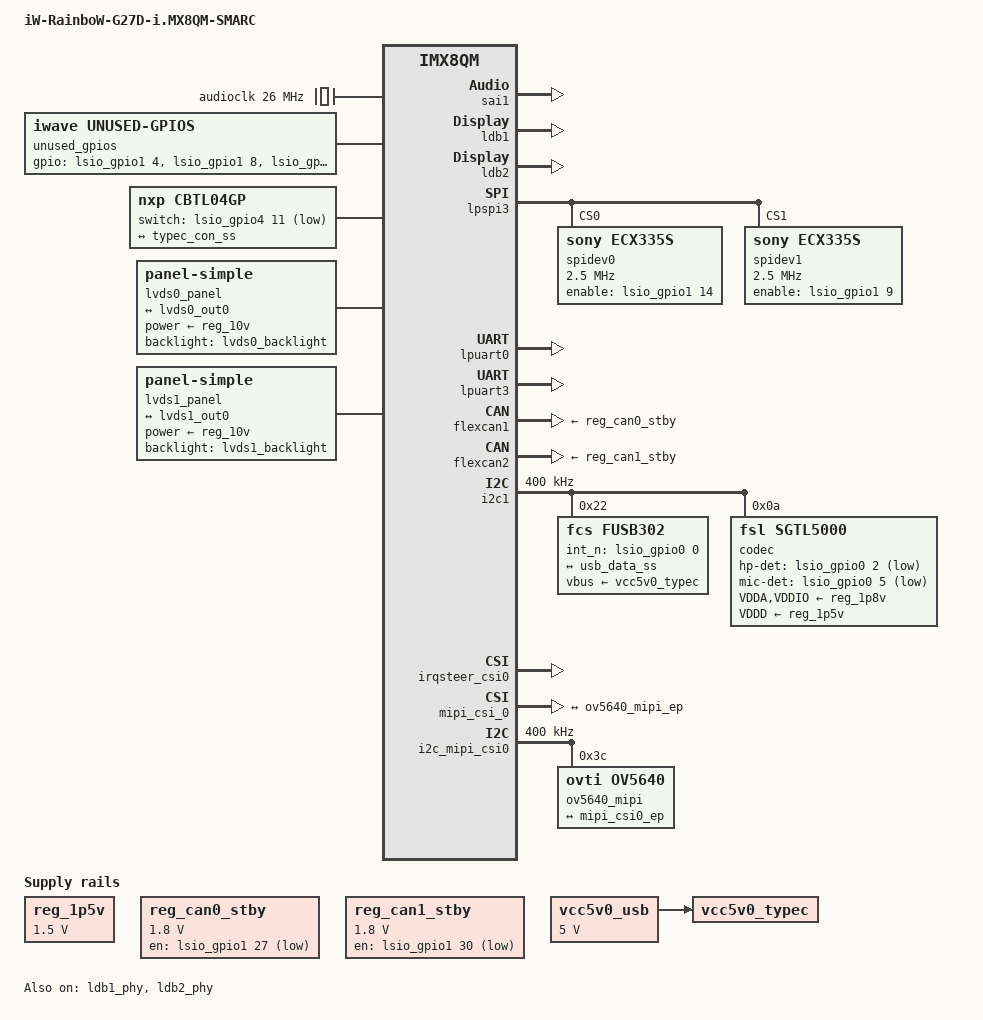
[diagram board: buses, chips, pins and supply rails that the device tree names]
// SPDX-License-Identifier: GPL-2.0+
/*
 * Copyright (c) 2021 iWave Systems Technologies Pvt. Ltd.
 *
 * This program is free software; you can redistribute it and/or
 * modify it under the terms of the GNU General Public License
 * as published by the Free Software Foundation; either version 2
 * of the License, or (at your option) any later version.
 *
 * This program is distributed in the hope that it will be useful,
 * but WITHOUT ANY WARRANTY; without even the implied warranty of
 * MERCHANTABILITY or FITNESS FOR A PARTICULAR PURPOSE.  See the
 * GNU General Public License for more details.
 */

/dts-v1/;

#include "imx8qm-iwg27m.dtsi"

/ {
	model = "iW-RainboW-G27D-i.MX8QM-SMARC";
	compatible = "fsl,imx8qm-iwg27m", "fsl,imx8qm";

	clocks {
		#address-cells = <1>;
		#size-cells = <0>;

		audioclk: ext26Mz { /* SGTL5000: External Audio Clock */
			compatible = "fixed-clock";
			clock-frequency = <26000000>;
			reg=<0>;
			#clock-cells = <0>;
		};
	};
	unused_gpios: unused_gpios { /* GPIO: Setting Unused GPIOs as input pins */
		compatible = "iwave,unused-gpios";
		pinctrl-names = "default";
		pinctrl-0 = <&pinctrl_unused_gpio>;
		status = "okay";  
	};

	reg_1p5v: 1p5v { /* Regulator: Fixed 1.5V Regulator */
		compatible = "regulator-fixed";
		regulator-name = "1P5V";
		regulator-min-microvolt = <1500000>;
		regulator-max-microvolt = <1500000>;
		regulator-always-on;
	};

	reg_can0_stby: regulator-can-stby0 { /* CAN: CAN0 Standby Regulator */
		compatible = "regulator-fixed";
		regulator-name = "CAN0_STBY_1P8V";
		regulator-min-microvolt = <1800000>;
		regulator-max-microvolt = <1800000>;
		gpio = <&lsio_gpio1 27 GPIO_ACTIVE_HIGH>;
		regulator-always-on;
	};

	reg_can1_stby: regulator-can-stby1 { /* CAN: CAN1 Standby Regulator */
		compatible = "regulator-fixed";
		regulator-name = "CAN1_STBY_1P8V";
		regulator-min-microvolt = <1800000>;
		regulator-max-microvolt = <1800000>;
		gpio = <&lsio_gpio1 30 GPIO_ACTIVE_HIGH>;
		regulator-always-on;
	};

	vcc5v0_typec: vcc5v0-typec-regulator {
		compatible = "regulator-fixed";
		pinctrl-names = "default";
		regulator-name = "vcc5v0_typec";
		regulator-always-on;
		vin-supply = <&vcc5v0_usb>;
	};

	vcc5v0_usb: vcc5v0-usb {
		compatible = "regulator-fixed";
		regulator-name = "vcc5v0_usb";
		regulator-always-on;
		regulator-boot-on;
		regulator-min-microvolt = <5000000>;
		regulator-max-microvolt = <5000000>;
	};

	cbtl04gp {
		compatible = "nxp,cbtl04gp";
		pinctrl-names = "default";
		pinctrl-0 = <&pinctrl_typec_mux>;
		switch-gpios = <&lsio_gpio4 11 GPIO_ACTIVE_LOW>;
		orientation-switch;

		port {
			usb_data_ss: endpoint {
			remote-endpoint = <&typec_con_ss>;
			};
		};
        };

	sound { /* SGTL5000: Audio Codec */
		compatible = "fsl,imx-audio-sgtl5000";
		model = "sgtl5000-audio";
		ssi-controller = <&sai1>;
		audio-codec = <&codec>;
		audio-routing = "MIC_IN", "Mic Jack",
				"Mic Jack", "Mic Bias",
				"Headphone Jack", "HP_OUT",
				"LINE_IN", "Line In Jack";
	};


	/*lvds1_panel { // LVDS1: LVDS panel 
		compatible = "powertrip,ph128800t004-zhc"; //"sony,ECX335S"
		backlight = <&lvds1_backlight>;
		pinctrl-names = "default";
		pinctrl-0 = <&pinctrl_lvds1>;
		power-supply = <&reg_1p8v>;
		enable-gpios = <&lsio_gpio5 0 GPIO_ACTIVE_HIGH>;
		status = "okay";

		port {
			panel_lvds1_in: endpoint {
				remote-endpoint = <&lvds1_out>;
			};
		};
	};*/

	lvds0_backlight: lvds0_backlight { // LVDS1: LVDS Backlight Enable 
		compatible = "pwm-backlight";
		pwms = <&pwm3_lpcg 0 100000 0>;
		power-supply = <&reg_1p8v>;

		brightness-levels = < 0  1  2  3  4  5  6  7  8  9
				     10 11 12 13 14 15 16 17 18 19
				     20 21 22 23 24 25 26 27 28 29
				     30 31 32 33 34 35 36 37 38 39
				     40 41 42 43 44 45 46 47 48 49
				     50 51 52 53 54 55 56 57 58 59
				     60 61 62 63 64 65 66 67 68 69
				     70 71 72 73 74 75 76 77 78 79
				     80 81 82 83 84 85 86 87 88 89
				     90 91 92 93 94 95 96 97 98 99
				    100>;
		default-brightness-level = <100>;
		status = "disabled";
	};
	lvds1_backlight: lvds1_backlight { // LVDS1: LVDS Backlight Enable 
		compatible = "pwm-backlight";
		pwms = <&pwm3_lpcg 0 100000 0>;
		power-supply = <&reg_1p8v>;

		brightness-levels = < 0  1  2  3  4  5  6  7  8  9
				     10 11 12 13 14 15 16 17 18 19
				     20 21 22 23 24 25 26 27 28 29
				     30 31 32 33 34 35 36 37 38 39
				     40 41 42 43 44 45 46 47 48 49
				     50 51 52 53 54 55 56 57 58 59
				     60 61 62 63 64 65 66 67 68 69
				     70 71 72 73 74 75 76 77 78 79
				     80 81 82 83 84 85 86 87 88 89
				     90 91 92 93 94 95 96 97 98 99
				    100>;
		default-brightness-level = <100>;
		status = "disabled";
	};
	lvds0_panel { // LVDS0: LVDS panel : LEFT 
		compatible = "panel-simple", "sony,ecx335s"; 
		pinctrl-names = "default";
		pinctrl-0 = <&pinctrl_lvds0>;
		backlight = <&lvds0_backlight>;
		power-supply = <&reg_10v>;
		status = "okay";
		port {
			panel_lvds0_in0: endpoint {
				remote-endpoint = <&lvds0_out0>;
			};
			
		};
	};
	lvds1_panel { // LVDS1: LVDS panel : RIGHT
		compatible = "panel-simple","sony,ecx335s"; 
		pinctrl-names = "default";
		pinctrl-0 = <&pinctrl_lvds1>; //변경
		backlight = <&lvds1_backlight>;
		power-supply = <&reg_10v>;
		status = "okay";

		port {
			panel_lvds1_in0: endpoint {
				remote-endpoint = <&lvds1_out0>;
			};
			
		};
	};
};

&sai1 { /* SGTL5000: Serial Audio Interface for SGTL5000 Audio Codec */
	assigned-clocks = <&clk IMX_SC_R_AUDIO_PLL_0 IMX_SC_PM_CLK_PLL>,
		<&clk IMX_SC_R_AUDIO_PLL_0 IMX_SC_PM_CLK_SLV_BUS>,
		<&clk IMX_SC_R_AUDIO_PLL_0 IMX_SC_PM_CLK_MST_BUS>,
		<&sai1_lpcg 0>; /* FIXME: should be sai1, original code is 0 */
	assigned-clock-rates = <786432000>, <49152000>, <12288000>, <49152000>;
	pinctrl-names = "default";
	pinctrl-0 = <&pinctrl_sai1>;
	status = "okay";
};

/*&mipi0_dphy {  //MIPI_DSI1: MIPI DSI Phy 
        status = "disabled";
};

&mipi0_dsi_host {  //MIPI_DSI1: MIPI DSI Host 
	fsl,clock-drop-level = <2>;
	status = "disabled";

	panel@0 {
		#address-cells = <1>;
		#size-cells = <0>;

		compatible = "raydium,rm67198";
		pinctrl-0 = <&pinctrl_mipi_dsi>;
		pinctrl-names = "default";
		reset-gpios = <&lsio_gpio0 3 GPIO_ACTIVE_LOW>;
		reg = <0>;
		dsi-lanes = <4>;
		video-mode = <2>;
		width-mm = <68>;
		height-mm = <121>;
		v3p3-supply = <&reg_3p3v>;
		v1p8-supply = <&reg_1p8v>;

		port@0 {
			reg = <0>;
			panel0_in: endpoint {
				remote-endpoint = <&mipi0_panel_out>;
			};
		};
	};

	ports {
		port@1 {
			reg = <1>;
			mipi0_panel_out: endpoint {
				remote-endpoint = <&panel0_in>;
			};
		};
	};
};*/
///delete-node/ &it6263_1_in;
&pwm2_lpcg { /* LVDS0: LVDS PWM2 Control */
	pinctrl-names = "default";
	#pwm-cells = <2>;
	pinctrl-0 = <&pinctrl_lvds0_pwm2_lpcg>;
	status = "disabled";
};
&pwm3_lpcg { /* LVDS1: LVDS PWM3 Control */
	pinctrl-names = "default";
	#pwm-cells = <2>;
	pinctrl-0 = <&pinctrl_lvds1_pwm3_lpcg>;
	status = "disabled";
};
&ldb1_phy { /* LVDS0: LVDS LDB Phy */
	status = "okay";
};

&ldb1 { /* LVDS0: LVDS Channel-0 Port Enable */
	status = "okay";
	fsl,dual-channel;
	lvds-channel@0 {
		fsl,data-mapping = "spwg";
		fsl,data-width = <24>;
		status = "okay";
		port@1 {
			lvds0_out0: endpoint {
				remote-endpoint = <&panel_lvds0_in0>;
			};
		};
	};
};
&ldb2_phy { /* LVDS1: LVDS LDB Phy */
	status = "okay";
};

&ldb2 { /* LVDS1: LVDS Channel-0 Port Enable */
	status = "okay";
	fsl,dual-channel;
	lvds-channel@0 {
		fsl,data-mapping = "spwg";
		fsl,data-width = <24>; // not sure
		status = "okay";
		port@1 {
			lvds1_out0: endpoint {
				remote-endpoint = <&panel_lvds1_in0>;
			};
		};
	};
};


&lpspi3 { /* LPSPI3: SPI Flash Device */
    pinctrl-names = "default";
    pinctrl-0 = <&pinctrl_lpspi3>;
    fsl,spi-num-chipselects = <2>;
    assigned-clock-rates = <80000000>;
	status = "okay";
	spi-cpha;
	spi-cpol;

	/*flash1: spi@0 { // SST25WF020A SPI Flash 
		#address-cells = <1>;
		#size-cells = <1>;
		compatible = "jedec,spi-nor", "is25wp016d";
                spi-max-frequency = <40000000>;
                reg = <0>;
                spi-tx-bus-width = <1>;
                spi-rx-bus-width = <1>;
                m25p,fast-read;
		status = "okay";
	};*/
	spidev0:spidev@0 {
		reg=<0>;
		#address-cells = <1>;
        #size-cells = <1>;
		compatible = "sony,ecx335s";
		spi-max-frequency = <2500000>;
		enable-gpios = <&lsio_gpio1 14 GPIO_ACTIVE_HIGH>;
		status = "okay";

	};
	spidev1:spidev@1 {
		reg=<1>;
		#address-cells = <1>;
        #size-cells = <1>;
		compatible = "sony,ecx335s";
		spi-max-frequency = <2500000>;
		enable-gpios = <&lsio_gpio1 9 GPIO_ACTIVE_HIGH>;
		status = "okay";
	};
};

&lpuart0 { /* LPUART0: DATA UART */
	pinctrl-names = "default";
	pinctrl-0 = <&pinctrl_lpuart0>;
	dma-names = "tx","rx";
	power-domains = <&pd IMX_SC_R_UART_0>;
	dmas = <&edma2 13 0 0>,
	       <&edma2 12 0 1>;
	status = "okay";
};

&lpuart3 { /* LPUART3: DATA UART */
        pinctrl-names = "default";
        pinctrl-0 = <&pinctrl_lpuart3>;
	power-domains = <&pd IMX_SC_R_UART_3>;
	dmas = <&edma2 19 0 0>,
	       <&edma2 18 0 1>;
        status = "okay";
};

&flexcan1 { /* CAN: FLEXCAN1 */
        pinctrl-names = "default";
        pinctrl-0 = <&pinctrl_flexcan1>;	
	xceiver-supply = <&reg_can0_stby>;
	status = "okay";
};

&flexcan2 { /* CAN: FLEXCAN2 */
        pinctrl-names = "default";
        pinctrl-0 = <&pinctrl_flexcan2>;
	xceiver-supply = <&reg_can1_stby>;
	status = "okay";
};

&i2c1 { /* I2C: LPI2C1 */
	#address-cells = <1>;
	#size-cells = <0>;
	pinctrl-names = "default";
	pinctrl-0 = <&pinctrl_lpi2c1>;
	clock-frequency = <400000>;
	status = "okay";

        fusb302: usb-typec@22 {
		compatible = "fcs,fusb302";
		reg = <0x22>;
		pinctrl-names = "default";
		pinctrl-0 = <&pinctrl_type_c>;
		fcs,int_n = <&lsio_gpio0 0 IRQ_TYPE_LEVEL_LOW>;
		vbus-supply = <&vcc5v0_typec>;
		status = "okay";

		ports {
			#address-cells = <1>;
			#size-cells = <0>;

			port@1 {
				reg = <1>;
			};
		};

		usb_con1: connector {
			compatible = "usb-c-connector";
			label = "USB-C";
			power-role = "dual";
			data-role = "dual";
			try-power-role = "sink";
			source-pdos = <PDO_FIXED(5000, 400, PDO_FIXED_DUAL_ROLE | PDO_FIXED_DATA_SWAP | PDO_FIXED_USB_COMM)>;
			sink-pdos = <PDO_FIXED(5000, 400, PDO_FIXED_DUAL_ROLE | PDO_FIXED_DATA_SWAP | PDO_FIXED_USB_COMM)>;
			op-sink-microwatt = <25000000>;

			ports {
				#address-cells = <1>;
				#size-cells = <0>;

				port@1 {
					reg = <1>;
					typec_con_ss: endpoint {
						remote-endpoint = <&usb_data_ss>;
					};
				};
			};
		};
	};

	codec: sgtl5000@a { /* SGTL5000: Audio Codec */
		compatible = "fsl,sgtl5000";
		reg = <0x0a>;
		pinctrl-names = "default";
		pinctrl-0 = <&pinctrl_hp_mic_detect>;
		clocks = <&audioclk 0>;
		VDDA-supply = <&reg_1p8v>;
		VDDIO-supply = <&reg_1p8v>;
		VDDD-supply = <&reg_1p5v>;
		power-domains = <&pd IMX_SC_R_MCLK_OUT_0>;
		hp-det-gpios = <&lsio_gpio0 2 GPIO_ACTIVE_LOW>;
		mic-det-gpios = <&lsio_gpio0 5 GPIO_ACTIVE_LOW>;
		status = "okay";
	};
};

/*&irqsteer_lvds0 {
	status = "okay";
};

&i2c1_lvds0 {  I2C1 LVDS0: Touch I2C for B0 CPU 
	reg = <0x56246000 0x4000>;
	interrupts = <8>;
	#address-cells = <1>;
	#size-cells = <0>;
	pinctrl-names = "default";
	pinctrl-0 = <&pinctrl_i2c1_lvds0>;
	clock-frequency = <400000>;
	status = "okay";

	cst148@1a {  Touch: Hynitron Touch panel (1080p display) 
		compatible = "hynitron,cst1xx";
		reg = <0x1a>;
		interrupt-parent = <&lsio_gpio0>;
		interrupts = <1 2>;
		vdd_ana-supply = <&reg_3p3v>;
		vcc_i2c-supply = <&reg_3p3v>;
		hynitron,panel-coords = <0 1080 0 1920>;
		hynitron,display-coords = <0 1080 0 1920>;
		pinctrl-names = "default";
		pinctrl-0 = <&pinctrl_ts_active_iwg27m>;
		hynitron,irq-gpio = <&lsio_gpio0 1 GPIO_ACTIVE_LOW>;
		hynitron,rst-gpio = <&lsio_gpio0 10 GPIO_ACTIVE_LOW>;
		report_type = <1>;
		status = "okay";
	};
};*/

&irqsteer_csi0 {
	status = "okay";
};

&mipi_csi_0 { /* MIPI_CSI0: OV5640 Camera */
	#address-cells = <1>;
	#size-cells = <0>;
	status = "okay";

	port@0 {
		reg = <0>;
		mipi_csi0_ep: endpoint {
			remote-endpoint = <&ov5640_mipi_ep>;
			data-lanes = <1 2>;
			bus-type = <4>;
		};
	};
};

&i2c_mipi_csi0 { /* MIPI_CSI0: OV5640 Camera */
	#address-cells = <1>;
	#size-cells = <0>;
	pinctrl-names = "default";
	clock-frequency = <400000>;
	status = "okay";

	ov5640_mipi: ov5640_mipi@3c {
		compatible = "ovti,ov5640";
		reg = <0x3c>;
		pinctrl-names = "default";
		pinctrl-0 = <&pinctrl_mipi_csi0>;
		clocks = <&xtal24m>;
		clock-names = "xclk";
		mclk = <24000000>;
		mclk_source = <0>;
		mipi_csi;
		status = "okay";
		port {
			ov5640_mipi_ep: endpoint {
			remote-endpoint = <&mipi_csi0_ep>;
			data-lanes = <1 2>;
			clocks-lanes = <0>;
			};
		};
	};
};

&iomuxc {
	pinctrl-names = "default";
    pinctrl-0 = <&pinctrl_gpio>;

	imx8qm-iwg27m {
		pinctrl_gpio: gpiogrp { /* GPIO: GPIO IOMUX Pin Configuration */
            fsl,pins = <
                IMX8QM_GPT1_COMPARE_LSIO_GPIO0_IO19         0x00000021
				IMX8QM_LVDS1_I2C1_SCL_LSIO_GPIO1_IO14	    0x00000021
            >;
        };

		pinctrl_lpspi3: lpspi3grp { /* LPSPI3: LPSPI3 IOMUX Pin Configuration */
			fsl,pins = <
				IMX8QM_SPI3_SCK_DMA_SPI3_SCK				0x0600004c
				IMX8QM_SPI3_SDO_DMA_SPI3_SDO				0x0600004c
				IMX8QM_SPI3_SDI_DMA_SPI3_SDI				0x0600004c
				IMX8QM_SPI3_CS0_LSIO_GPIO2_IO20				0x00000021
				IMX8QM_SPI3_CS0_DMA_SPI3_CS0				0x0600004c
				IMX8QM_SPI3_CS1_DMA_SPI3_CS1				0x0600004c
			>;
		};

		pinctrl_lpuart0: lpuart0grp { /* LPUART0: DATA UART IOMUX Pin Configuration */
			fsl,pins = <
				IMX8QM_UART0_RX_DMA_UART0_RX				0x06000020
				IMX8QM_UART0_TX_DMA_UART0_TX				0x06000020
				IMX8QM_UART0_RTS_B_DMA_UART0_RTS_B			0x06000020
				IMX8QM_UART0_CTS_B_DMA_UART0_CTS_B			0x06000020
			>;
		};

		pinctrl_lpuart3: lpuart3grp { /* LPUART3: Debug UART IOMUX Pin Configuration */
			fsl,pins = <
				IMX8QM_M41_GPIO0_00_DMA_UART3_RX			0x06000020
				IMX8QM_M41_GPIO0_01_DMA_UART3_TX			0x06000020
			>;
		};

		pinctrl_sai1: sai1grp { /* SGTL5000: SAI Audio IOMUX Pin Configuration */
			fsl,pins = <
				IMX8QM_SAI1_RXD_AUD_SAI1_RXD				0xc600004c
				IMX8QM_SAI1_TXC_AUD_SAI1_TXC				0xc600004c
				IMX8QM_SAI1_TXD_AUD_SAI1_TXD				0xc600004c
				IMX8QM_SAI1_TXFS_AUD_SAI1_TXFS				0xc600004c
			>;
		};

		pinctrl_hp_mic_detect: hp_mic_detect { /* SGTL5000: IOMUX Pin Configuration */
			fsl,pins = <
				IMX8QM_SIM0_IO_LSIO_GPIO0_IO02				0x00000021 /* HeadPhone Detect GPIO */
				IMX8QM_SIM0_GPIO0_00_LSIO_GPIO0_IO05			0x00000021 /* MicroPhone Detect GPIO */
				IMX8QM_MCLK_OUT0_AUD_ACM_MCLK_OUT0			0x0600004c
			>;
		};

		pinctrl_lpi2c1: lpi2c1grp { /* I2C1: IOMUX Pin Configuration */
			fsl,pins = <
				IMX8QM_GPT0_CLK_DMA_I2C1_SCL				0xc600004c
				IMX8QM_GPT0_CAPTURE_DMA_I2C1_SDA			0xc600004c
			>;
		};

		pinctrl_i2c1_lvds0: i2c1_lvds0grp { /* I2C1_LVDS0: Touch IOMUX Pin Configuration */
			fsl,pins = <
				IMX8QM_LVDS0_I2C0_SCL_LVDS0_I2C0_SCL			0xc600004c
				IMX8QM_LVDS0_I2C0_SDA_LVDS0_I2C0_SDA			0xc600004c
			>;
		};

		pinctrl_ts_active_iwg27m: touch { /* Touch: IOMUX Pin Configuration */
			fsl,pins = <
				IMX8QM_SIM0_RST_LSIO_GPIO0_IO01				0x00000021 /* Touch IRQ GPIO */
				IMX8QM_M41_I2C0_SCL_LSIO_GPIO0_IO10			0x00000021 /* Touch Reset GPIO */
			>;
		};

		pinctrl_type_c: usbtypec { /* USB3.0: FUSB Type-C IOMUX Pin Configuration */
			fsl,pins = <
				IMX8QM_SIM0_CLK_LSIO_GPIO0_IO00				0x00000021 /* Type-C IRQ GPIO */
			>;
		};

		pinctrl_typec_mux: usbtypec_ss { /* USB3.0: FUSB Type-C IOMUX Pin Configuration */
			fsl,pins = <
				IMX8QM_USDHC2_WP_LSIO_GPIO4_IO11			0x00000021 /* Type-C USB SS select GPIO */
			>;
		};
		pinctrl_lvds0: lvds0grp { /* LVDS0: LVDS panel IOMUX Pin Configuration */
			fsl,pins = <
				IMX8QM_LVDS0_GPIO00_LSIO_GPIO1_IO04			0x00000021 /* LVDS Power Enable GPIO */
			>;
		};
		pinctrl_lvds1: lvds1grp { /* LVDS1: LVDS panel IOMUX Pin Configuration */
			fsl,pins = <
				IMX8QM_LVDS1_GPIO00_LSIO_GPIO1_IO10			0x00000021 /* LVDS Power Enable GPIO */
			>;
		};
		pinctrl_lvds0_pwm2_lpcg: lvds0pwm2_lpcggrp { /* LVDS1: LVDS PWM IOMUX Pin Configuration */
			fsl,pins = <
				IMX8QM_GPT1_COMPARE_LSIO_PWM2_OUT			0x00000020
			>;
		};
		pinctrl_lvds1_pwm3_lpcg: lvds1pwm3_lpcggrp { /* LVDS1: LVDS PWM IOMUX Pin Configuration */
			fsl,pins = <
				IMX8QM_GPT0_COMPARE_LSIO_PWM3_OUT			0x00000020
			>;
		};

		pinctrl_mipi_csi0: mipicsi0grp{ /* MIPI_CSI0: Camera MCLOCK IOMUX Pin Configuration */
			fsl,pins = <
				IMX8QM_MIPI_CSI0_MCLK_OUT_MIPI_CSI0_ACM_MCLK_OUT	0xC0000041
			>;
		};

		pinctrl_mipi_dsi: mipidsi { /* MIPI_DSI: LCD IOMUX Pin Configuration */
			fsl,pins = <
				IMX8QM_SIM0_PD_LSIO_GPIO0_IO03				0x00000021 /* MIPI-DSI Reset GPIO */
			>;
		};

                pinctrl_flexcan1: flexcan0grp { /* CAN: FLEXCAN1 IOMUX Pin Configuration */
                        fsl,pins = <
                                IMX8QM_FLEXCAN0_TX_DMA_FLEXCAN0_TX                      0x00000021
                                IMX8QM_FLEXCAN0_RX_DMA_FLEXCAN0_RX                      0x00000021
                                IMX8QM_MIPI_CSI0_GPIO0_00_LSIO_GPIO1_IO27               0x00000021 /* FLEXCAN1 Power Down GPIO */
                        >;
                };

                pinctrl_flexcan2: flexcan1grp { /* CAN: FLEXCAN2 IOMUX Pin Configuration */
                        fsl,pins = <
                                IMX8QM_FLEXCAN1_TX_DMA_FLEXCAN1_TX                      0x00000021
                                IMX8QM_FLEXCAN1_RX_DMA_FLEXCAN1_RX                      0x00000021
                                IMX8QM_MIPI_CSI1_GPIO0_00_LSIO_GPIO1_IO30               0x00000021 /* FLEXCAN2 Power Down GPIO */ 
                        >;
                };
	
		pinctrl_unused_gpio: unused_gpiogrp{ /* GPIO: Unused GPIOs IOMUX Pin Configuration */
			fsl,pins = <
				/*IMX8QM_LVDS0_GPIO00_LSIO_GPIO1_IO04			0x00000021*/
				IMX8QM_LVDS0_I2C1_SCL_LSIO_GPIO1_IO08			0x00000021
				/*IMX8QM_LVDS1_GPIO00_LSIO_GPIO1_IO10			0x00000021*/
				IMX8QM_LVDS1_I2C1_SDA_LSIO_GPIO1_IO15			0x00000021
				IMX8QM_MIPI_CSI1_MCLK_OUT_LSIO_GPIO1_IO29		0x00000021
				IMX8QM_MIPI_CSI1_I2C0_SCL_LSIO_GPIO2_IO00		0x00000021
				IMX8QM_MIPI_CSI1_I2C0_SDA_LSIO_GPIO2_IO01		0x00000021
				IMX8QM_HDMI_TX0_TS_SCL_LSIO_GPIO2_IO02			0x00000021
				IMX8QM_HDMI_TX0_TS_SDA_LSIO_GPIO2_IO03			0x00000021
				IMX8QM_ESAI1_FSR_LSIO_GPIO2_IO04			0x00000021
				IMX8QM_ESAI1_FST_LSIO_GPIO2_IO05			0x00000021
				IMX8QM_ESAI1_SCKR_LSIO_GPIO2_IO06			0x00000021
				IMX8QM_ESAI1_SCKT_LSIO_GPIO2_IO07			0x00000021
				IMX8QM_ESAI1_TX0_LSIO_GPIO2_IO08			0x00000021
				IMX8QM_ESAI1_TX1_LSIO_GPIO2_IO09			0x00000021
				IMX8QM_ESAI1_TX2_RX3_LSIO_GPIO2_IO10			0x00000021
				IMX8QM_ESAI1_TX3_RX2_LSIO_GPIO2_IO11			0x00000021
				IMX8QM_ESAI1_TX4_RX1_LSIO_GPIO2_IO12			0x00000021
				IMX8QM_ESAI1_TX5_RX0_LSIO_GPIO2_IO13			0x00000021
				IMX8QM_SPDIF0_RX_LSIO_GPIO2_IO14			0x00000021
				IMX8QM_SPDIF0_TX_LSIO_GPIO2_IO15			0x00000021
				IMX8QM_SPDIF0_EXT_CLK_LSIO_GPIO2_IO16			0x00000021
				IMX8QM_ESAI0_FSR_LSIO_GPIO2_IO22			0x00000021
				IMX8QM_ESAI0_SCKR_LSIO_GPIO2_IO24			0x00000021
				IMX8QM_SPI0_SCK_LSIO_GPIO3_IO02				0x00000021
				IMX8QM_SPI0_SDO_LSIO_GPIO3_IO03				0x00000021
				IMX8QM_SPI0_SDI_LSIO_GPIO3_IO04				0x00000021
				/*IMX8QM_SPI0_CS1_LSIO_GPIO3_IO06				0x00000021
				IMX8QM_SPI2_CS1_LSIO_GPIO3_IO11				0x00000021*/
				IMX8QM_SAI1_RXFS_LSIO_GPIO3_IO14			0x00000021
				IMX8QM_ADC_IN4_LSIO_GPIO3_IO22				0x00000021
				IMX8QM_ADC_IN5_LSIO_GPIO3_IO23				0x00000021
				IMX8QM_ADC_IN6_LSIO_GPIO3_IO24				0x00000021
				IMX8QM_ADC_IN7_LSIO_GPIO3_IO25				0x00000021
				IMX8QM_MLB_SIG_LSIO_GPIO3_IO26				0x00000021
				IMX8QM_MLB_CLK_LSIO_GPIO3_IO27				0x00000021
				IMX8QM_MLB_DATA_LSIO_GPIO3_IO28				0x00000021
				IMX8QM_FLEXCAN2_RX_LSIO_GPIO4_IO01			0x00000021
				IMX8QM_FLEXCAN2_TX_LSIO_GPIO4_IO02			0x00000021
				IMX8QM_USB_SS3_TC2_LSIO_GPIO4_IO05			0x00000021
				IMX8QM_USDHC2_RESET_B_LSIO_GPIO4_IO09			0x00000021
				IMX8QM_QSPI1A_SS0_B_LSIO_GPIO4_IO19			0x00000021
				IMX8QM_QSPI1A_SS1_B_LSIO_GPIO4_IO20			0x00000021
				IMX8QM_QSPI1A_SCLK_LSIO_GPIO4_IO21			0x00000021
				IMX8QM_QSPI1A_DQS_LSIO_GPIO4_IO22			0x00000021
				IMX8QM_QSPI1A_DATA3_LSIO_GPIO4_IO23			0x00000021
				IMX8QM_QSPI1A_DATA2_LSIO_GPIO4_IO24			0x00000021
				IMX8QM_QSPI1A_DATA1_LSIO_GPIO4_IO25			0x00000021
				IMX8QM_QSPI1A_DATA0_LSIO_GPIO4_IO26			0x00000021
				IMX8QM_USB_HSIC0_DATA_LSIO_GPIO5_IO01			0x00000021
				IMX8QM_USB_HSIC0_STROBE_LSIO_GPIO5_IO02			0x00000021
				IMX8QM_USDHC1_DATA4_LSIO_GPIO5_IO19			0x00000021
				IMX8QM_USDHC1_DATA5_LSIO_GPIO5_IO20			0x00000021
				IMX8QM_USDHC1_DATA6_LSIO_GPIO5_IO21			0x00000021
				IMX8QM_USDHC1_DATA7_LSIO_GPIO5_IO22			0x00000021
			>;
		};
	};
};

&unused_gpios { /* GPIO: iWave Unused GPIO pins */
	gpios = <&lsio_gpio1 4 0>,
		<&lsio_gpio1 8 0>,
		<&lsio_gpio1 10 0>,
		<&lsio_gpio1 15 0>,
		<&lsio_gpio1 29 0>,
		<&lsio_gpio2 0 0>,
		<&lsio_gpio2 1 0>,
		<&lsio_gpio2 2 0>,
		<&lsio_gpio2 3 0>,
		<&lsio_gpio2 4 0>,
		<&lsio_gpio2 5 0>,
		<&lsio_gpio2 6 0>,
		<&lsio_gpio2 7 0>,
		<&lsio_gpio2 8 0>,
		<&lsio_gpio2 9 0>,
		<&lsio_gpio2 10 0>,
		<&lsio_gpio2 11 0>,
		<&lsio_gpio2 12 0>,
		<&lsio_gpio2 13 0>,
		<&lsio_gpio2 14 0>,
		<&lsio_gpio2 15 0>,
		<&lsio_gpio2 16 0>,
		<&lsio_gpio2 22 0>,
		<&lsio_gpio2 24 0>,
		<&lsio_gpio3 2 0>,
		<&lsio_gpio3 3 0>,
		<&lsio_gpio3 4 0>,
		/*<&lsio_gpio3 6 0>,
		<&lsio_gpio3 11 0>,*/
		<&lsio_gpio3 14 0>,
		<&lsio_gpio3 23 0>,
		<&lsio_gpio3 24 0>,
		<&lsio_gpio3 25 0>,
		<&lsio_gpio3 26 0>,
		<&lsio_gpio3 27 0>,
		<&lsio_gpio3 28 0>,
		<&lsio_gpio4 1 0>,
		<&lsio_gpio4 2 0>,
		<&lsio_gpio4 5 0>,
		<&lsio_gpio4 9 0>,
		<&lsio_gpio4 19 0>,
		<&lsio_gpio4 20 0>,
		<&lsio_gpio4 21 0>,
		<&lsio_gpio4 22 0>,
		<&lsio_gpio4 23 0>,
		<&lsio_gpio4 24 0>,
		<&lsio_gpio4 25 0>,
		<&lsio_gpio4 26 0>,
		<&lsio_gpio5 1 0>,
		<&lsio_gpio5 2 0>,
		<&lsio_gpio5 19 0>,
		<&lsio_gpio5 20 0>,
		<&lsio_gpio5 21 0>,
		<&lsio_gpio5 22 0>;
};

